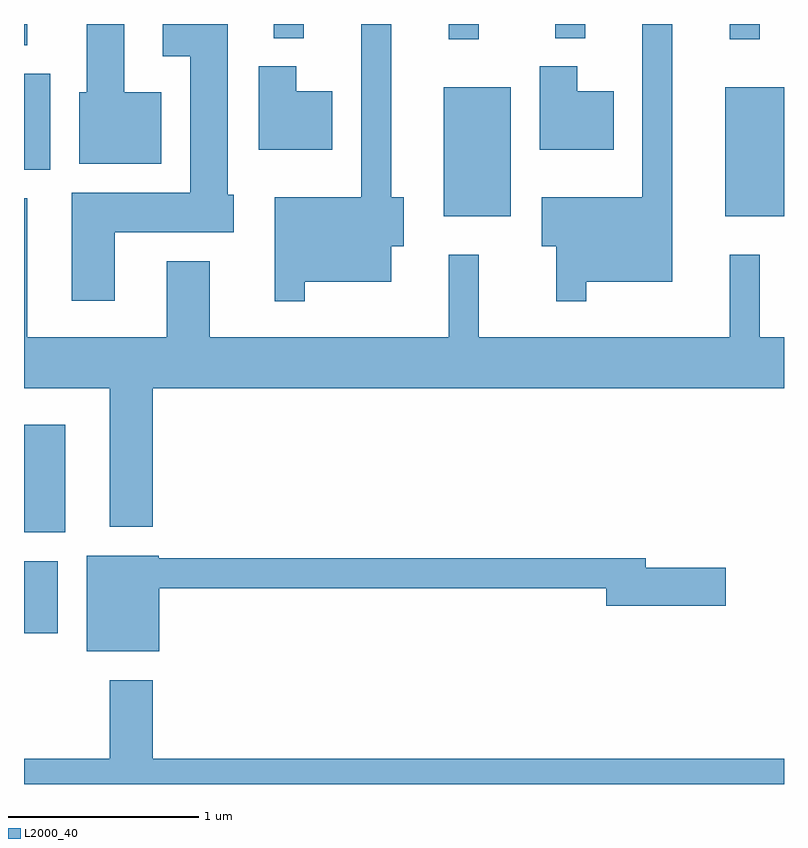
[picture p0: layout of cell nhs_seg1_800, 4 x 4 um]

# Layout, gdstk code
import gdstk
lib = gdstk.Library(unit=1e-6, precision=1e-09)
def R(c, l, rs):  # rectangles x0, y0, x1, y1
    for r in rs: c.add(gdstk.rectangle(r[:2], r[2:], *l))
def P(c, l, *ps):  # polygons
    for p in ps: c.add(gdstk.Polygon(p, *l))
L2000_40 = (2000, 40)

nhs_seg1_800 = lib.new_cell('nhs_seg1_800')
R(nhs_seg1_800, L2000_40, [(209.611,900.506,209.789,900.884), (209.611,901.036,209.829,901.604), (211.821,902.701,212.174,903.379), (213.301,902.701,213.611,903.379), (209.611,902.946,209.749,903.449), (209.611,903.601,209.629,903.712), (211.846,903.633,212.004,903.712), (213.326,903.633,213.484,903.712), (210.926,903.638,211.084,903.712), (212.406,903.638,212.564,903.712)])
P(nhs_seg1_800, L2000_40, [(210.089,902.616),(210.714,902.616),(210.714,902.814),(210.684,902.814),(210.684,903.712),(210.341,903.712),(210.341,903.541),(210.486,903.541),(210.486,902.824),(209.861,902.824),(209.861,902.256),(210.089,902.256)],
  [(211.089,902.356),(211.544,902.356),(211.544,902.541),(211.609,902.541),(211.609,902.799),(211.544,902.799),(211.544,903.712),(211.386,903.712),(211.386,902.799),(210.931,902.799),(210.931,902.253),(211.089,902.253)],
  [(210.334,903.354),(210.139,903.354),(210.139,903.712),(209.941,903.712),(209.941,903.354),(209.901,903.354),(209.901,902.976),(210.334,902.976)],
  [(212.569,902.356),(213.024,902.356),(213.024,903.712),(212.866,903.712),(212.866,902.799),(212.336,902.799),(212.336,902.541),(212.411,902.541),(212.411,902.253),(212.569,902.253)],
  [(212.714,903.359),(212.524,903.359),(212.524,903.489),(212.326,903.489),(212.326,903.051),(212.714,903.051)],
  [(211.234,903.359),(211.044,903.359),(211.044,903.489),(210.846,903.489),(210.846,903.051),(211.234,903.051)],
  [(210.289,901.796),(213.611,901.796),(213.611,902.064),(213.484,902.064),(213.484,902.498),(213.326,902.498),(213.326,902.064),(212.004,902.064),(212.004,902.498),(211.846,902.498),(211.846,902.064),(210.589,902.064),(210.589,902.464),(210.361,902.464),(210.361,902.064),(209.629,902.064),(209.629,902.794),(209.611,902.794),(209.611,901.796),(210.061,901.796),(210.061,901.066),(210.289,901.066)],
  [(210.324,900.741),(212.676,900.741),(212.676,900.651),(213.304,900.651),(213.304,900.849),(212.884,900.849),(212.884,900.899),(210.32,900.899),(210.32,900.914),(209.941,900.914),(209.941,900.411),(210.324,900.411)],
  [(213.611,899.844),(210.289,899.844),(210.289,900.259),(210.061,900.259),(210.061,899.844),(209.611,899.844),(209.611,899.712),(213.611,899.712)])

lib.write_gds('nhs_seg1_800.gds')
